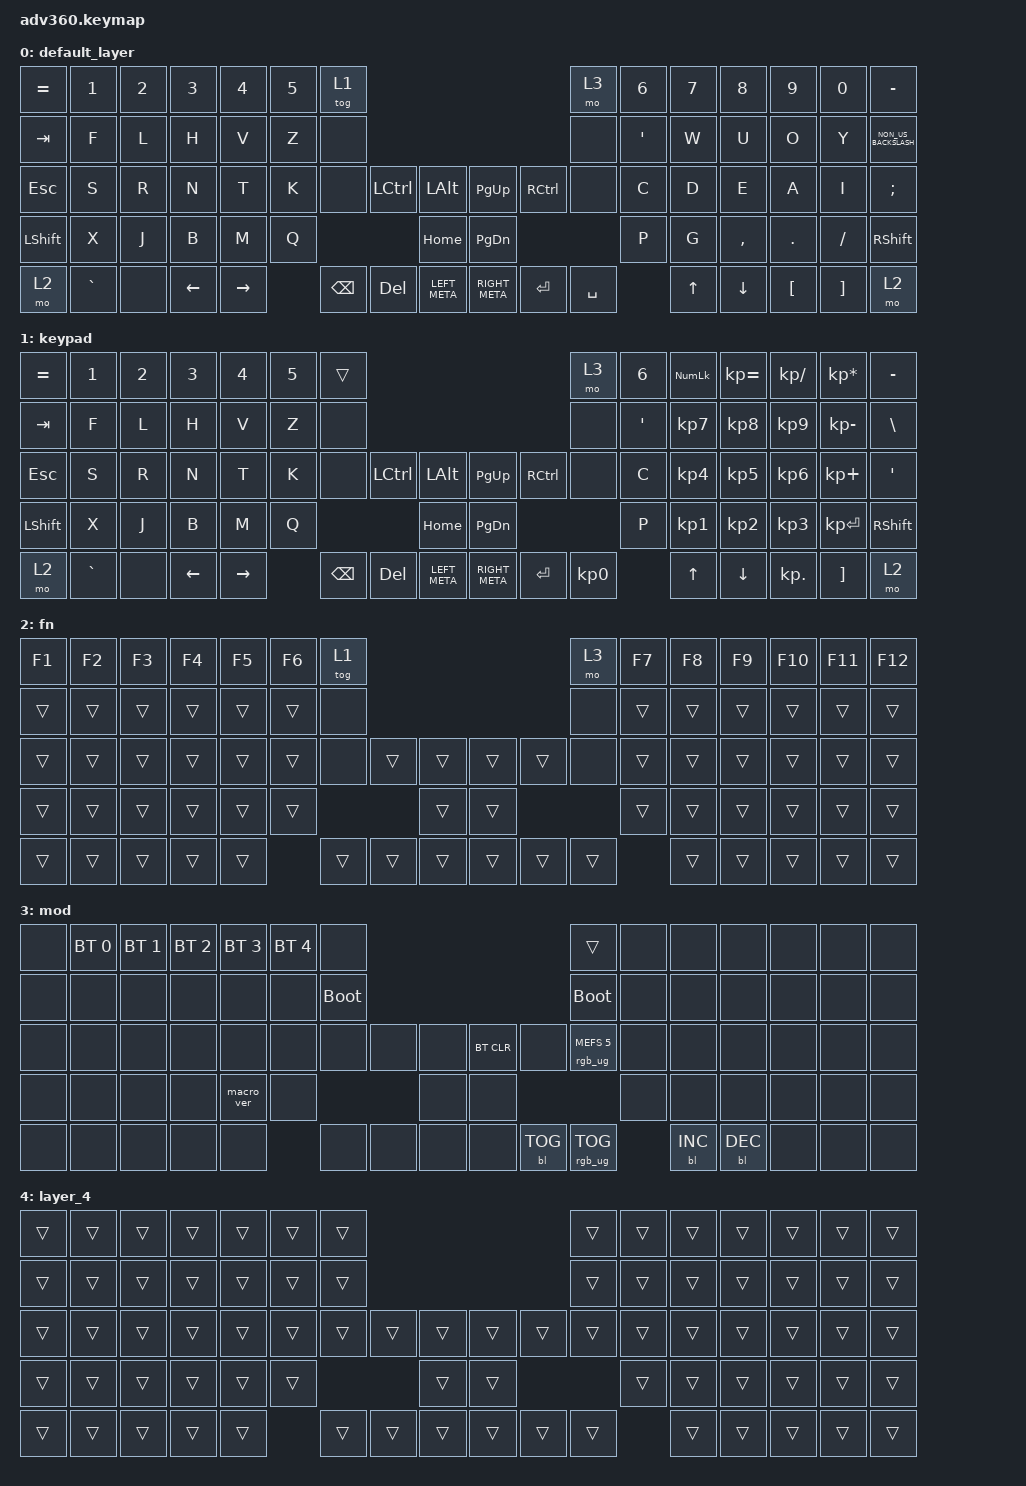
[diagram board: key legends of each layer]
#include <behaviors.dtsi>
#include <dt-bindings/zmk/backlight.h>
#include <dt-bindings/zmk/bt.h>
#include <dt-bindings/zmk/keys.h>
#include <dt-bindings/zmk/rgb.h>

/ {
    behaviors {
        #include "macros.dtsi"
      #include "version.dtsi"
      #ifndef VERSION_MACRO

        macro_ver: macro_ver {
            compatible = "zmk,behavior-macro";
            label = "macro_version";
            #binding-cells = <0>;
            bindings = <&kp RET>;
        };

        #endif

        hm: homerow_mods {
            compatible = "zmk,behavior-hold-tap";
            label = "HOMEROW_MODS";
            #binding-cells = <2>;
            tapping-term-ms = <200>;
            quick_tap_ms = <175>;
            flavor = "tap-preferred";
            bindings = <&kp>, <&kp>;
        };

        sqt_under: sqt_under {
            compatible = "zmk,behavior-mod-morph";
            label = "SQT_UNDER";
            bindings = <&kp SQT>, <&kp UNDERSCORE>;

            #binding-cells = <0>;
            mods = <(MOD_LSFT|MOD_RSFT)>;
        };

        slash_lt: slash_lt {
            compatible = "zmk,behavior-mod-morph";
            label = "SLASH_LT";
            bindings = <&kp SLASH>, <&kp LESS_THAN>;

            #binding-cells = <0>;
            mods = <(MOD_LSFT|MOD_RSFT)>;
        };

        comma_qmark: comma_qmark {
            compatible = "zmk,behavior-mod-morph";
            label = "COMMA_QMARK";
            bindings = <&kp COMMA>, <&kp QUESTION>;

            #binding-cells = <0>;
            mods = <(MOD_LSFT|MOD_RSFT)>;
        };

        minus_dqt: minus_dqt {
            compatible = "zmk,behavior-mod-morph";
            label = "MINUS_DQT";
            bindings = <&kp MINUS>, <&kp DOUBLE_QUOTES>;

            #binding-cells = <0>;
            mods = <(MOD_RSFT|MOD_LSFT)>;
        };
    };

    macros {
    };

    keymap {
        compatible = "zmk,keymap";

        default_layer {
            bindings = <
&kp EQUAL  &kp N1     &kp N2  &kp N3    &kp N4     &kp N5  &tog 1                                                             &mo 3      &kp N6   &kp N7  &kp N8     &kp N9            &kp N0     &kp MINUS
&kp TAB    &kp F      &kp L   &kp H     &kp V      &kp Z   &none                                                              &none      &kp SQT  &kp W   &kp U      &kp O             &kp Y      &kp NON_US_BACKSLASH
&kp ESC    &kp S      &kp R   &kp N     &kp T      &kp K   &none     &kp LCTRL  &kp LALT           &kp PG_UP       &kp RCTRL  &none      &kp C    &kp D   &kp E      &kp A             &kp I      &kp SEMICOLON
&kp LSHFT  &kp X      &kp J   &kp B     &kp M      &kp Q                        &kp HOME           &kp PG_DN                             &kp P    &kp G   &kp COMMA  &kp PERIOD        &kp SLASH  &kp RSHFT
&mo 2      &kp GRAVE  &none   &kp LEFT  &kp RIGHT          &kp BSPC  &kp DEL    &kp LEFT_META      &kp RIGHT_META  &kp ENTER  &kp SPACE           &kp UP  &kp DOWN   &kp LEFT_BRACKET  &kp RBKT   &mo 2
            >;
        };

        keypad {
            bindings = <
&kp EQUAL  &kp N1     &kp N2  &kp N3    &kp N4     &kp N5  &trans                                                             &mo 3      &kp N6   &kp KP_NUM  &kp KP_EQUAL  &kp KP_DIVIDE  &kp KP_MULTIPLY  &kp MINUS
&kp TAB    &kp F      &kp L   &kp H     &kp V      &kp Z   &none                                                              &none      &kp SQT  &kp KP_N7   &kp KP_N8     &kp KP_N9      &kp KP_MINUS     &kp BSLH
&kp ESC    &kp S      &kp R   &kp N     &kp T      &kp K   &none     &kp LCTRL  &kp LALT           &kp PG_UP       &kp RCTRL  &none      &kp C    &kp KP_N4   &kp KP_N5     &kp KP_N6      &kp KP_PLUS      &kp SQT
&kp LSHFT  &kp X      &kp J   &kp B     &kp M      &kp Q                        &kp HOME           &kp PAGE_DOWN                         &kp P    &kp KP_N1   &kp KP_N2     &kp KP_N3      &kp KP_ENTER     &kp RSHFT
&mo 2      &kp GRAVE  &none   &kp LEFT  &kp RIGHT          &kp BSPC  &kp DEL    &kp LEFT_META      &kp RIGHT_META  &kp ENTER  &kp KP_N0           &kp UP      &kp DOWN      &kp KP_DOT     &kp RBKT         &mo 2
            >;
        };

        fn {
            bindings = <
&kp F1  &kp F2  &kp F3  &kp F4  &kp F5  &kp F6  &tog 1                                      &mo 3   &kp F7  &kp F8  &kp F9  &kp F10  &kp F11  &kp F12
&trans  &trans  &trans  &trans  &trans  &trans  &none                                       &none   &trans  &trans  &trans  &trans   &trans   &trans
&trans  &trans  &trans  &trans  &trans  &trans  &none   &trans  &trans      &trans  &trans  &none   &trans  &trans  &trans  &trans   &trans   &trans
&trans  &trans  &trans  &trans  &trans  &trans                  &trans      &trans                  &trans  &trans  &trans  &trans   &trans   &trans
&trans  &trans  &trans  &trans  &trans          &trans  &trans  &trans      &trans  &trans  &trans          &trans  &trans  &trans   &trans   &trans
            >;
        };

        mod {
            bindings = <
&none  &bt BT_SEL 0  &bt BT_SEL 1  &bt BT_SEL 2  &bt BT_SEL 3  &bt BT_SEL 4  &none                                                  &trans                  &none  &none       &none       &none  &none  &none
&none  &none         &none         &none         &none         &none         &bootloader                                            &bootloader             &none  &none       &none       &none  &none  &none
&none  &none         &none         &none         &none         &none         &none        &none  &none      &bt BT_CLR  &none       &rgb_ug RGB_MEFS_CMD 5  &none  &none       &none       &none  &none  &none
&none  &none         &none         &none         &macro_ver    &none                             &none      &none                                           &none  &none       &none       &none  &none  &none
&none  &none         &none         &none         &none                       &none        &none  &none      &none       &bl BL_TOG  &rgb_ug RGB_TOG                &bl BL_INC  &bl BL_DEC  &none  &none  &none
            >;
        };

        layer_4 {
            bindings = <
&trans  &trans  &trans  &trans  &trans  &trans  &trans                                      &trans  &trans  &trans  &trans  &trans  &trans  &trans
&trans  &trans  &trans  &trans  &trans  &trans  &trans                                      &trans  &trans  &trans  &trans  &trans  &trans  &trans
&trans  &trans  &trans  &trans  &trans  &trans  &trans  &trans  &trans      &trans  &trans  &trans  &trans  &trans  &trans  &trans  &trans  &trans
&trans  &trans  &trans  &trans  &trans  &trans                  &trans      &trans                  &trans  &trans  &trans  &trans  &trans  &trans
&trans  &trans  &trans  &trans  &trans          &trans  &trans  &trans      &trans  &trans  &trans          &trans  &trans  &trans  &trans  &trans
            >;
        };
    };
};
